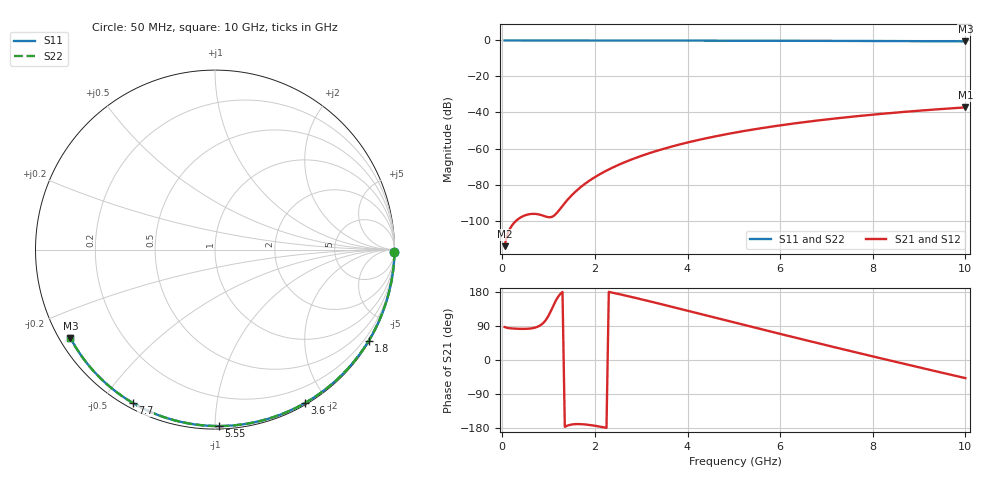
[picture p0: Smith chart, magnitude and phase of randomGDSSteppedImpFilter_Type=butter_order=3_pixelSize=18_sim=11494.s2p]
! freq	dB(S11)	phase(S11)	dB(S12)	phase(S12)
!  dB(S21)	phase(S21)	dB(S22)	phase(S22)
!S-par simulation data
#  GHz  S  DB  R 50
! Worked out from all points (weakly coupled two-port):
!   200 points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, 50 MHz to 10 GHz, reference 50 ohm
!   highest |S21| = -37.17 dB at 10 GHz (marker M1); lowest = -114.2 dB at 50 MHz (marker M2)
!   lowest |S11| = -0.5 dB at 10 GHz (marker M3), VSWR 34.80, Z = 1.55 - j14.1 ohm
!   |S11| at or under -10 dB: nowhere
!   |S22| runs from -0.5 to 0.0 dB; largest |S21 - S12| = 0
!   S11 on the Smith chart (normalised r, x): 50 MHz: open; 1.8 GHz: 0.03, -3.66; 3.6 GHz: 0.02, -1.74; 5.55 GHz: 0.02, -1.02; 7.7 GHz: 0.02, -0.60; 10 GHz: 0.03, -0.28
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0.05  -0.00 -0.9  -114.24 87.1  -114.24 87.1  -0.00 -0.9
0.45  -0.01 -7.8  -97.54 82.1  -97.54 82.1  -0.01 -7.8
0.9  -0.02 -15.5  -97.45 99.5  -97.45 99.5  -0.02 -15.5
1.3  -0.03 -22.2  -91.84 179.6  -91.84 179.6  -0.03 -22.2
1.75  -0.04 -29.8  -80.29 -169.7  -80.29 -169.7  -0.04 -29.8
1.8  -0.04 -30.6  -79.32 -170.2  -79.32 -170.2  -0.04 -30.6
1.95  -0.04 -33.1  -76.69 -172.6  -76.69 -172.6  -0.04 -33.1
2.1  -0.05 -35.6  -74.37 -175.6  -74.37 -175.6  -0.05 -35.6
2.3  -0.05 -38.8  -71.62 179.7  -71.62 179.7  -0.05 -38.8
2.5  -0.05 -42.1  -69.19 174.5  -69.19 174.5  -0.05 -42.1
2.9  -0.06 -48.6  -65.04 163.2  -65.04 163.2  -0.06 -48.6
3.4  -0.07 -56.5  -60.80 148.4  -60.80 148.4  -0.07 -56.5
3.6  -0.08 -59.6  -59.33 142.3  -59.33 142.3  -0.08 -59.6
4.3  -0.10 -70.4  -54.89 120.9  -54.89 120.9  -0.10 -70.4
5.05  -0.12 -81.5  -51.05 97.9  -51.05 97.9  -0.12 -81.5
5.55  -0.15 -88.7  -48.89 82.6  -48.89 82.6  -0.15 -88.7
6.1  -0.17 -96.5  -46.80 65.9  -46.80 65.9  -0.17 -96.5
6.7  -0.20 -104.8  -44.79 47.9  -44.79 47.9  -0.20 -104.8
7.7  -0.27 -118.3  -41.95 18.2  -41.95 18.2  -0.27 -118.3
8.35  -0.32 -126.9  -40.39 -0.7  -40.39 -0.7  -0.32 -126.9
9.2  -0.41 -138.0  -38.61 -25.1  -38.61 -25.1  -0.41 -138.0
10  -0.50 -148.6  -37.17 -47.8  -37.17 -47.8  -0.50 -148.5
